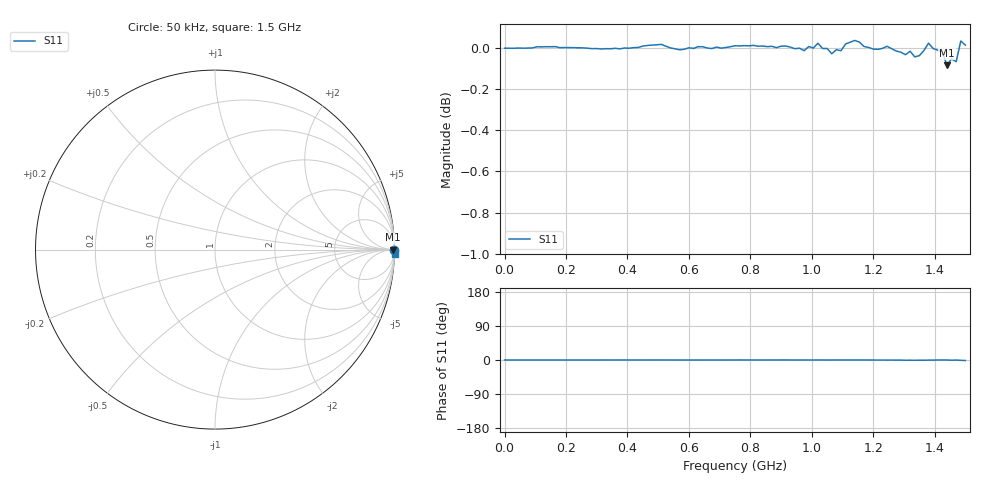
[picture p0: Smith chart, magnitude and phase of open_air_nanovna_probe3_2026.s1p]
! Touchstone S1P file exported from NanoVNA UTN Toolkit
! Device: NanoVNA-H
! Export date: 2026-10-13 11:43:44
! Frequency range: 0.050 - 1500.000 MHz
! Number of points: 101
! Parameter: S11 (Reflection)
# Hz S RI R 50
! f[Hz]  S11_real S11_imag
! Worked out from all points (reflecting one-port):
!   101 points, 50 kHz to 1.5 GHz, reference 50 ohm
!   lowest |S11| = -0.1 dB at 1.44 GHz (marker M1), VSWR 206.66, Z = 1.03e+04 - j311 ohm
!   phase of S11 starts at -0 deg and turns -1 deg over the sweep
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50000  0.9999 -3.1e-05
1.950435e8  1 -2e-06
3.750375e8  0.9995 0.000912
5.10033e8  1.002 0.000762
5.70031e8  0.999 -0.000351
7.50025e8  1.001 0.00201
8.250225e8  1.001 -0.000233
9.150195e8  1.001 0.00248
9.450185e8  0.9996 -0.000872
9.750175e8  0.9985 0.000381
1.020016e9  1.003 0.00142
1.065014e9  0.9968 0.000387
1.140012e9  1.004 0.00216
1.20001e9  0.9994 -0.00184
1.245008e9  1.001 -0.00326
1.275008e9  0.9983 -0.00348
1.305006e9  0.9962 -0.0116
1.320006e9  0.9981 -0.0105
1.350005e9  0.9957 -0.01
1.365004e9  0.9986 -0.0108
1.380004e9  1.003 -0.00624
1.395004e9  0.9997 -0.00546
1.425002e9  0.9977 0.00244
1.440002e9  0.9904 -0.000289
1.455002e9  0.9939 -0.00992
1.470001e9  0.9924 -0.00268
1.485e9  1.004 -0.0152
1.5e9  1.001 -0.0235
